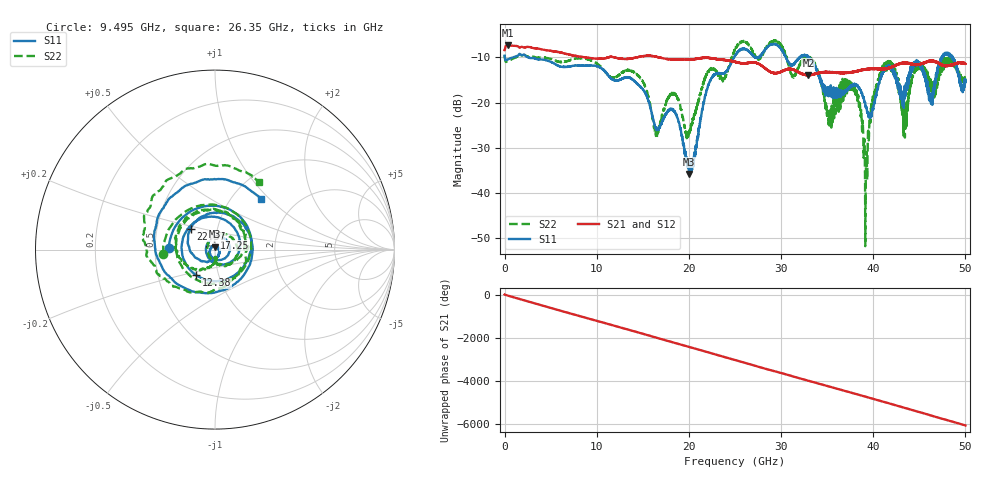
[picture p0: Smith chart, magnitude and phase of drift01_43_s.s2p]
!Created with skrf (http://scikit-rf.org).
# Hz S RI R 50.0
!freq ReS11 ImS11 ReS21 ImS21 ReS12 ImS12 ReS22 ImS22
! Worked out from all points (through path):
!   10001 points, 300 kHz to 50 GHz, reference 50 ohm
!   highest |S21| = -7.33 dB at 315.3 MHz (marker M1); lowest = -14.0 dB at 32.97 GHz (marker M2)
!   group delay of S21, straight-line fit = 335 ps
!   lowest |S11| = -35.8 dB at 20.01 GHz (marker M3), VSWR 1.03, Z = 50 + j1.63 ohm
!   |S11| at or under -10 dB: 2.555 GHz to 24.91 GHz (22.35 GHz wide, 163 % of centre); 30.5 GHz to 32.01 GHz (1.51 GHz wide, 4.83 % of centre); 33.05 GHz to 47.43 GHz (14.38 GHz wide, 35.7 % of centre) (the widest 3 of 23)
!   |S22| runs from -51.8 to -6.3 dB; largest |S21 - S12| = 0.0094
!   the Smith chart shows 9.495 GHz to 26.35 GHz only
!   S11 on the Smith chart (normalised r, x): 9.495 GHz: 0.59, +0.01; 12.38 GHz: 0.78, -0.23; 17.25 GHz: 0.98, +0.13; 22.37 GHz: 0.74, +0.18; 26.35 GHz: 1.37, +0.89
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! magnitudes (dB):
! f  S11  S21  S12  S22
! 300 kHz  -9.6  -8.4  -8.5  -9.5
! 315.3 MHz  -10.5  -7.3  -7.3  -10.9
! 8.335 GHz  -11.8  -9.9  -9.9  -10.2
! 9.495 GHz  -11.8  -10.2  -10.2  -10.8
! 12.38 GHz  -15.0  -10.2  -10.2  -13.9
! 14.86 GHz  -16.7  -9.8  -9.8  -14.9
! 16.67 GHz  -26.0  -10.0  -10.0  -27.1
! 17.25 GHz  -23.5  -10.2  -10.2  -21.6
! 20.01 GHz  -35.8  -10.5  -10.5  -26.5
! 22.37 GHz  -14.9  -10.2  -10.2  -12.6
! 25 GHz  -9.6  -11.0  -11.0  -8.4
! 26.35 GHz  -8.4  -11.2  -11.3  -6.9
! 32.97 GHz  -9.9  -14.0  -13.9  -10.0
! 33.34 GHz  -10.7  -13.8  -13.8  -10.5
! 35.23 GHz  -17.4  -13.3  -13.2  -22.6
! 37.98 GHz  -15.9  -13.1  -13.2  -16.9
! 39.17 GHz  -20.7  -12.7  -12.7  -41.5
! 40.16 GHz  -20.1  -12.5  -12.5  -17.6
! 41.67 GHz  -12.1  -12.4  -12.3  -11.5
! 43.46 GHz  -17.5  -11.3  -11.4  -24.8
! 44.86 GHz  -11.2  -11.6  -11.5  -11.8
! 50 GHz  -15.4  -11.4  -11.4  -15.1
